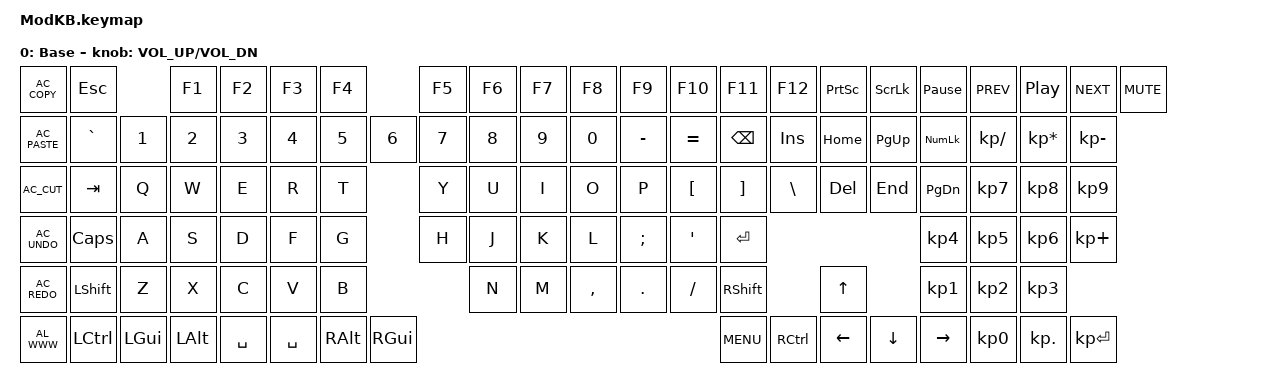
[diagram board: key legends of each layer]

#include <behaviors.dtsi>
#include <dt-bindings/zmk/keys.h>
#include <dt-bindings/zmk/bt.h>
#include <dt-bindings/zmk/outputs.h>


/ {
    behaviors {
        sensor_vol_rot: sensor_rotate_kp {
            compatible = "zmk,behavior-sensor-rotate-var";
            #sensor-binding-cells = <2>;
            bindings = <&kp>, <&kp>;
        };
    };


    keymap{
        compatible = "zmk,keymap";
    
        
        
        default_layer {
			display-name = "Base";
            sensor-bindings = <&sensor_vol_rot C_VOL_UP C_VOL_DN>;
        // -----------------------------------------------------------------------------------------------------------------------------------------------
        // | M1 | | ESC |     |  F1  | F2  | F3  | F4  | | F5  | F6  | F7  | F8  | | F9  | F10 | F11 | F12 | | PSCRN|SCLLCK|PSEBREAK | |  BK | PSE | FW  | EC11|
        // |    | |     |     |----------------------------------------------------------------------------| |                       | |-----------------------|
        // | M2 | |GRAVE|  1  |  2  |  3  |  4  |  5  |  6  |  7  |  8  |  9  |  0  |  -  |  =  |   BSPC   | |  INS  | HOME |  PGUP  | | NUM |  /  |  *  |  -  |
        // | M3 | | TAB   |  Q  |  W  |  E  |  R  |  T  |  Y  |  U  |  I  |  O  |  P  |  [  |  ]  |   \    | |  DLT  |  END |  PGDN  | |  7  |  8  |  9  |  +  |
        // | M4 | | CAPS   |  A  |  S  |  D  |  F  |  G  |  H  |  J  |  K  |  L  |  ;  |  '  |    ENTER    | |                       | |  4  |  5  |  6  |     |
        // | M5 | |  SHIFT   |  Z  |  X  |  C  |  V  |  B  |  N  |  M  |  ,  |  .  |  /  |   SHIFT         | |       |  UP  |        | |  1  |  2  |  3  |     |
        // | M6 | |  CTL  |  WIN  |  ALT  |    SPACE    | |      SPACE     | ALT  |  WIN  |MENU| CTRL|     | |   LEFT| DOWN | RIGHT  | |  0        | DEL | ENT |
            bindings = <
                &kp C_AC_COPY   &kp ESC              &kp F1    &kp F2    &kp F3    &kp F4                         &kp F5      &kp F6     &kp F7     &kp F8     &kp F9     &kp F10    &kp F11    &kp F12       &kp PSCRN &kp SLCK   &kp PAUSE_BREAK  &kp C_PREV  &kp C_PP      &kp C_NEXT      &kp C_MUTE
                &kp C_AC_PASTE  &kp GRAVE  &kp N1    &kp N2    &kp N3    &kp N4    &kp N5   &kp N6                &kp N7      &kp N8     &kp N9     &kp N0     &kp MINUS  &kp EQUAL             &kp BSPC      &kp INS   &kp HOME   &kp PG_UP        &kp KP_NUM  &kp KP_DIVIDE &kp KP_MULTIPLY &kp KP_MINUS
                &kp C_AC_CUT    &kp TAB    &kp Q     &kp W     &kp E     &kp R     &kp T                   &kp Y  &kp U       &kp I      &kp O      &kp P      &kp LBKT   &kp RBKT              &kp BSLH      &kp DEL   &kp END    &kp PG_DN        &kp KP_N7   &kp KP_N8     &kp KP_N9   
                &kp C_AC_UNDO   &kp CLCK   &kp A     &kp S     &kp D     &kp F     &kp G                          &kp H       &kp J      &kp K      &kp L      &kp SEMI   &kp SQT               &kp RET                                             &kp KP_N4   &kp KP_N5     &kp KP_N6       &kp KP_PLUS 
                &kp C_AC_REDO   &kp LSHFT  &kp Z     &kp X     &kp C     &kp V     &kp B                                      &kp N      &kp M      &kp COMMA  &kp DOT    &kp FSLH              &kp RSHFT                &kp UP                     &kp KP_N1   &kp KP_N2     &kp KP_N3       
                &kp C_AL_WWW    &kp LCTRL  &kp LGUI  &kp LALT                      &kp SPACE                                             &kp SPACE             &kp RALT   &kp RGUI  &kp K_MENU  &kp RCTRL     &kp LEFT &kp DOWN &kp RIGHT           &kp KP_N0                 &kp KP_DOT      &kp KP_ENTER
            >;
            //  RC(0,0)         RC(0,1)             RC(0,3)   RC(0,4)   RC(0,5)   RC(0,6)                          RC(0,9)   RC(0,10)   RC(0,11)   RC(0,12)   RC(0,13)   RC(0,14)   RC(0,15)   RC(0,16)      RC(0,17)   RC(0,18)   RC(0,19)          RC(0,20)     RC(0,21)     RC(0,22)     RC(0,23) //row 1
            //  RC(1,0)         RC(1,1)   RC(1,2)   RC(1,3)   RC(1,4)   RC(1,5)   RC(1,6)   RC(1,7)                RC(1,9)   RC(1,10)   RC(1,11)   RC(1,12)   RC(1,13)   RC(1,14)              RC(1,16)      RC(1,17)   RC(1,18)   RC(1,19)          RC(1,20)     RC(1,21)     RC(1,22)     RC(1,23) //row 2
            //  RC(2,0)         RC(2,1)   RC(2,2)   RC(2,3)   RC(2,4)   RC(2,5)   RC(2,6)                RC(2,8)   RC(2,9)   RC(2,10)   RC(2,11)   RC(2,12)   RC(2,13)   RC(2,14)              RC(2,16)      RC(2,17)   RC(2,18)   RC(2,19)          RC(2,20)     RC(2,21)     RC(2,22)              //row 3
            //  RC(3,0)         RC(3,1)   RC(3,2)   RC(3,3)   RC(3,4)   RC(3,5)   RC(3,6)                          RC(3,9)   RC(3,10)   RC(3,11)   RC(3,12)   RC(3,13)   RC(3,14)              RC(3,16)                                              RC(3,20)     RC(3,21)     RC(3,22)     RC(3,23) //row 4
            //  RC(4,0)         RC(4,1)   RC(4,2)   RC(4,3)   RC(4,4)   RC(4,5)   RC(4,6)                                    RC(4,10)   RC(4,11)   RC(4,12)   RC(4,13)   RC(4,14)              RC(4,16)                 RC(4,18)                     RC(4,20)     RC(4,21)     RC(4,22)              //row 5
            //  RC(5,0)         RC(5,1)   RC(5,2)   RC(5,3)                       RC(5,6)                                               RC(5,11)              RC(5,13)   RC(5,14)   RC(5,15)   RC(5,16)      RC(5,17)   RC(5,18)   RC(5,19)          RC(5,20)                  RC(5,22)     RC(5,23) //row 6
        };  

	};
};
